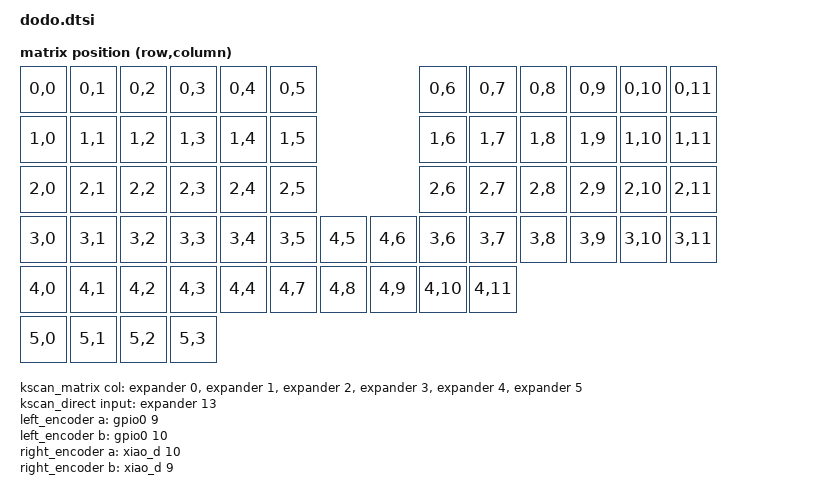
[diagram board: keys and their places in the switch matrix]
#include <dt-bindings/zmk/matrix_transform.h>
#include <dt-bindings/led/led.h>

&pinctrl {
  spi3_default: spi3_default {
    group1 {
      psels = <NRF_PSEL(SPIM_MOSI, 0, 3)>;
    };
  };

  spi3_sleep: spi3_sleep {
    group1 {
      psels = <NRF_PSEL(SPIM_MOSI, 0, 3)>;
      low-power-enable;
    };
  };
};

&spi3 {
  compatible = "nordic,nrf-spim";
  status = "okay";

  pinctrl-0 = <&spi3_default>;
  pinctrl-1 = <&spi3_sleep>;
  pinctrl-names = "default", "sleep";

  led_strip: ws2812@0{
    compatible = "worldsemi,ws2812-spi";
    label = "SK6812";

    reg = <0>;
    spi-max-frequency = <4000000>;

    chain-length = <30>;
    spi-one-frame = <0x70>;
    spi-zero-frame = <0x40>;
    color-mapping = <LED_COLOR_ID_GREEN
                     LED_COLOR_ID_RED
                     LED_COLOR_ID_BLUE>;
  };
};

&xiao_spi {
  status = "okay";

  cs-gpios = <&xiao_d 2 GPIO_ACTIVE_LOW 
    &xiao_d 1 GPIO_ACTIVE_LOW 
    &xiao_d 0 GPIO_ACTIVE_HIGH>;

  expander: mcp23sxx@0 {
    compatible = "microchip,mcp23sxx";
    status = "okay";    
    gpio-controller;
    spi-max-frequency = <800000>;
    reg = <0>;
    label = "MCP23S17";
    #gpio-cells = <2>;
    ngpios = <16>;
    int-gpios = <&xiao_d 5 GPIO_ACTIVE_LOW>;

    led_disable {
      gpio-hog;
      gpios = <6 GPIO_ACTIVE_HIGH>;
      output-high;
    };
  };

  nice_view: ls0xx@2 {
    compatible = "sharp,ls0xx";
    label = "NICE_VIEW";
    spi-max-frequency = <1000000>;
    reg = <2>;
    width = <160>;
    height = <68>;
  };
};

/ {
  chosen {
    zmk,kscan = &kscan_composite;
    zmk,matrix_transform = &default_transform;
    zephyr,display = &nice_view;
    zmk,underglow = &led_strip;
  };

  default_transform: keymap_transform_0 {
    compatible = "zmk,matrix-transform";
    columns = <12>;
    rows = <6>;
    map = <
      RC(0,0) RC(0,1) RC(0,2) RC(0,3) RC(0,4) RC(0,5)                 RC(0,6) RC(0,7) RC(0,8)  RC(0,9)  RC(0,10) RC(0,11)
      RC(1,0) RC(1,1) RC(1,2) RC(1,3) RC(1,4) RC(1,5)                 RC(1,6) RC(1,7) RC(1,8)  RC(1,9)  RC(1,10) RC(1,11)
      RC(2,0) RC(2,1) RC(2,2) RC(2,3) RC(2,4) RC(2,5)                 RC(2,6) RC(2,7) RC(2,8)  RC(2,9)  RC(2,10) RC(2,11)
      RC(3,0) RC(3,1) RC(3,2) RC(3,3) RC(3,4) RC(3,5) RC(4,5) RC(4,6) RC(3,6) RC(3,7) RC(3,8)  RC(3,9)  RC(3,10) RC(3,11)
      RC(4,0) RC(4,1) RC(4,2) RC(4,3) RC(4,4) RC(4,7) RC(4,8) RC(4,9) RC(4,10) RC(4,11)
      RC(5,0) RC(5,1) RC(5,2) RC(5,3)
    >;
  };

  kscan_composite: kscan_composite {
    compatible = "zmk,kscan-composite";
    label = "KSCAN_COMPOSITE";

    columns = <12>;
    rows = <6>;

    matrix {
      kscan = <&kscan_matrix>;
    };

    direct {
      kscan = <&kscan_direct>;
      row-offset = <4>;
    };
  };

  kscan_matrix: kscan_matrix {
    compatible = "zmk,kscan-gpio-matrix";
    label = "KSCAN_MATRIX";

    diode-direction = "col2row";
    col-gpios
      = <&expander 0 (GPIO_ACTIVE_LOW)>
      , <&expander 1 (GPIO_ACTIVE_LOW)>
      , <&expander 2 (GPIO_ACTIVE_LOW)>
      , <&expander 3 (GPIO_ACTIVE_LOW)>
      , <&expander 4 (GPIO_ACTIVE_LOW)>
      , <&expander 5 (GPIO_ACTIVE_LOW)>
      ;
    wakeup-source;
  };

  kscan_direct: kscan_direct {
    compatible = "zmk,kscan-gpio-direct";
    label = "KSCAN_DIRECT";
    input-gpios = <&expander 13 (GPIO_ACTIVE_LOW | GPIO_PULL_UP)>;
    wakeup-source;
  };

  left_encoder: encoder_left {
    compatible = "alps,ec11";
    label = "LEFT_ENCODER";
    a-gpios = <&gpio0 9 (GPIO_ACTIVE_LOW | GPIO_PULL_UP)>;
    b-gpios = <&gpio0 10 (GPIO_ACTIVE_LOW | GPIO_PULL_UP)>;
    status = "disabled";
    steps = <80>;
  };

  right_encoder: encoder_right {
    compatible = "alps,ec11";
    label = "RIGHT_ENCODER";
    a-gpios = <&xiao_d 10 (GPIO_ACTIVE_LOW | GPIO_PULL_UP)>;
    b-gpios = <&xiao_d 9 (GPIO_ACTIVE_LOW | GPIO_PULL_UP)>;
    status = "disabled";
    steps = <80>;
  };

  sensors {
    compatible = "zmk,keymap-sensors";
    sensors = <&left_encoder &right_encoder>;
    triggers-per-rotation = <20>;
  };

  keys {
    compatible = "gpio-keys";
    wakeup_key: wakeup_key {
      gpios = <&xiao_d 4 (GPIO_ACTIVE_LOW | GPIO_PULL_UP)>;
    };
  };

  behaviors {
    hw_soft_off: behavior_hw_soft_off {
      compatible = "zmk,behavior-soft-off";
      #binding-cells = <0>;
      label = "HW_SOFT_OFF";
      hold-time-ms = <1000>;
    };
  };

  soft_off_behavior_key {
    compatible = "zmk,behavior-key";
    bindings = <&hw_soft_off>;
    key = <&wakeup_key>;
    status = "okay";
  };

  wakeup_source: wakeup_source {
    compatible = "zmk,wakeup-trigger-key";
    trigger = <&wakeup_key>;
    wakeup-source;
  };

  soft_off_wakers {
    compatible = "zmk,soft-off-wakup-sources";
    wakeup-sources = <&wakeup_source>;
  };
};
